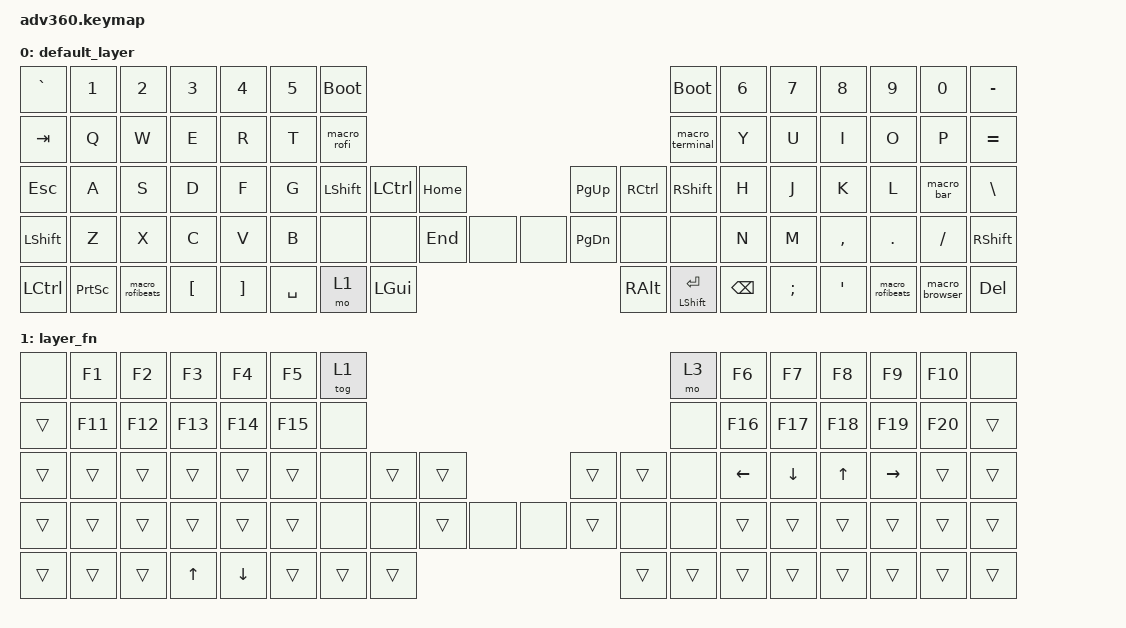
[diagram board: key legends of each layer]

/*
 * Copyright (c) 2020 The ZMK Contributors
 *
 * SPDX-License-Identifier: MIT
 */


/* THIS FILE WAS GENERATED!
 *
 * This file was generated automatically. You may or may not want to
 * edit it directly.
 */

#include <behaviors.dtsi>
#include <dt-bindings/zmk/keys.h>

/ {
  behaviors {
    #include "macros.dtsi"

    hm: homerow_mods {
        compatible = "zmk,behavior-hold-tap";
        label = "HOMEROW_MODS";
        #binding-cells = <2>;
        tapping-term-ms = <69>;
        quick_tap_ms = <175>;
        flavor = "tap-preferred";
        bindings = <&kp>, <&kp>;
    };
  };

    keymap {
        compatible = "zmk,keymap";


        default_layer {
            bindings = <
 &kp GRAVE           &kp N1            &kp N2            &kp N3             &kp N4  &kp N5               &bootloader                                                                            &bootloader  &kp N6    &kp N7            &kp N8            &kp N9          &kp N0   &kp MINUS
   &kp TAB            &kp Q             &kp W             &kp E              &kp R   &kp T               &macro_rofi                                                                        &macro_terminal   &kp Y     &kp U             &kp I             &kp O           &kp P   &kp EQUAL
   &kp ESC            &kp A             &kp S             &kp D              &kp F   &kp G            &kp LEFT_SHIFT  &kp LCTRL  &kp HOME                  &kp PG_UP             &kp RCTRL       &kp RSHIFT   &kp H     &kp J             &kp K             &kp L      &macro_bar    &kp BSLH
 &kp LSHFT            &kp Z             &kp X             &kp C              &kp V   &kp B                     &none      &none   &kp END   &none   &none  &kp PG_DN                 &none            &none   &kp N     &kp M         &kp COMMA           &kp DOT       &kp SLASH  &kp RSHIFT
 &kp LCTRL  &kp PRINTSCREEN  &macro_rofibeats  &kp LEFT_BRACKET  &kp RIGHT_BRACKET                         &kp SPACE      &mo 1  &kp LGUI                   &kp RALT  &mt LEFT_SHIFT ENTER         &kp BSPC          &kp SEMI  &kp SINGLE_QUOTE  &macro_rofibeats  &macro_browser     &kp DEL
            >;
        };

        layer_fn {
            bindings = <
  &none   &kp F1   &kp F2   &kp F3    &kp F4   &kp F5            &tog 1                                                   &mo 3    &kp F6    &kp F7   &kp F8     &kp F9  &kp F10   &none
 &trans  &kp F11  &kp F12  &kp F13   &kp F14  &kp F15             &none                                                   &none   &kp F16   &kp F17  &kp F18    &kp F19  &kp F20  &trans
 &trans   &trans   &trans   &trans    &trans   &trans             &none  &trans  &trans                  &trans  &trans   &none  &kp LEFT  &kp DOWN   &kp UP  &kp RIGHT   &trans  &trans
 &trans   &trans   &trans   &trans    &trans   &trans             &none   &none  &trans   &none   &none  &trans   &none   &none    &trans    &trans   &trans     &trans   &trans  &trans
 &trans   &trans   &trans   &kp UP  &kp DOWN                     &trans  &trans  &trans                  &trans  &trans  &trans              &trans   &trans     &trans   &trans  &trans
            >;
        };

    };
};
